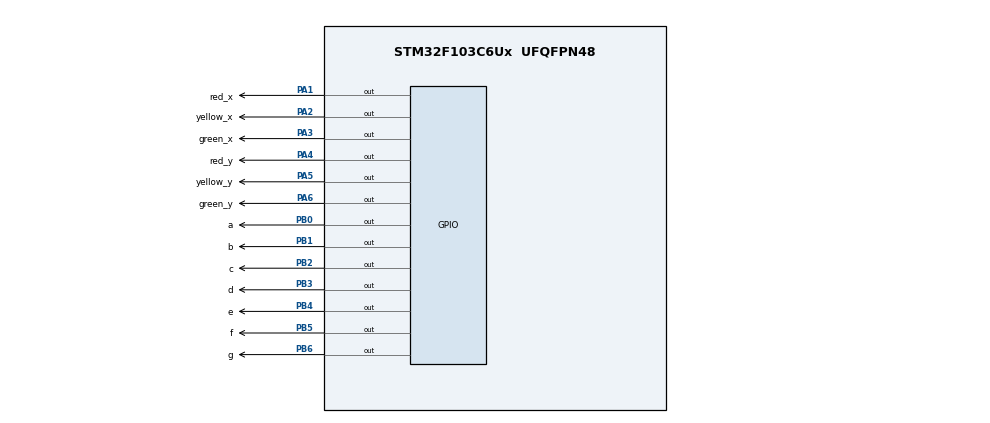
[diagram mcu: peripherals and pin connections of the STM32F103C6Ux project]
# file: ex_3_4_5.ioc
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Mcu.Family=STM32F1
Mcu.Name=STM32F103C6Ux
Mcu.Package=UFQFPN48
NVIC.PriorityGroup=NVIC_PRIORITYGROUP_4
PA1.GPIO_Label=red_x
PA1.Signal=GPIO_Output
PA2.GPIO_Label=yellow_x
PA2.Signal=GPIO_Output
PA3.GPIO_Label=green_x
PA3.Signal=GPIO_Output
PA4.GPIO_Label=red_y
PA4.Signal=GPIO_Output
PA5.GPIO_Label=yellow_y
PA5.Signal=GPIO_Output
PA6.GPIO_Label=green_y
PA6.Signal=GPIO_Output
PB0.GPIO_Label=a
PB0.Signal=GPIO_Output
PB1.GPIO_Label=b
PB1.Signal=GPIO_Output
PB2.GPIO_Label=c
PB2.Signal=GPIO_Output
PB3.GPIO_Label=d
PB3.Signal=GPIO_Output
PB4.GPIO_Label=e
PB4.Signal=GPIO_Output
PB5.GPIO_Label=f
PB5.Signal=GPIO_Output
PB6.GPIO_Label=g
PB6.Signal=GPIO_Output
ProjectManager.HeapSize=0x200
ProjectManager.StackSize=0x400
ProjectManager.TargetToolchain=STM32CubeIDE
RCC.APB1Freq_Value=8000000
RCC.APB2Freq_Value=8000000
VP_SYS_VS_ND.Mode=No_Debug
board=custom

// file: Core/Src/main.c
/* USER CODE BEGIN Header */
/**
  ******************************************************************************
  * @file           : main.c
  * @brief          : Main program body
  ******************************************************************************
  * @attention
  *
  * <h2><center>&copy; Copyright (c) 2026 STMicroelectronics.
  * All rights reserved.</center></h2>
  *
  * This software component is licensed by ST under BSD 3-Clause license,
  * the "License"; You may not use this file except in compliance with the
  * License. You may obtain a copy of the License at:
  *                        opensource.org/licenses/BSD-3-Clause
  *
  ******************************************************************************
  */
/* USER CODE END Header */
#include "main.h"

void SystemClock_Config(void);
static void MX_GPIO_Init(void);

int main(void)
{

  /* MCU Configuration--------------------------------------------------------*/

  /* Reset of all peripherals, Initializes the Flash interface and the Systick. */
  HAL_Init();

  /* Configure the system clock */
  SystemClock_Config();

  /* Initialize all configured peripherals */
  MX_GPIO_Init();
  /* USER CODE BEGIN 2 */
  void display7SEG(int num) {
      switch(num) {
          case 0:
              HAL_GPIO_WritePin(GPIOB, a_Pin, GPIO_PIN_RESET);
              HAL_GPIO_WritePin(GPIOB, b_Pin, GPIO_PIN_RESET);
              HAL_GPIO_WritePin(GPIOB, c_Pin, GPIO_PIN_RESET);
              HAL_GPIO_WritePin(GPIOB, d_Pin, GPIO_PIN_RESET);
              HAL_GPIO_WritePin(GPIOB, e_Pin, GPIO_PIN_RESET);
              HAL_GPIO_WritePin(GPIOB, f_Pin, GPIO_PIN_RESET);
              HAL_GPIO_WritePin(GPIOB, g_Pin, GPIO_PIN_SET);
              break;

          case 1:
              HAL_GPIO_WritePin(GPIOB, a_Pin, GPIO_PIN_SET);
              HAL_GPIO_WritePin(GPIOB, b_Pin, GPIO_PIN_RESET);
              HAL_GPIO_WritePin(GPIOB, c_Pin, GPIO_PIN_RESET);
              HAL_GPIO_WritePin(GPIOB, d_Pin, GPIO_PIN_SET);
              HAL_GPIO_WritePin(GPIOB, e_Pin, GPIO_PIN_SET);
              HAL_GPIO_WritePin(GPIOB, f_Pin, GPIO_PIN_SET);
              HAL_GPIO_WritePin(GPIOB, g_Pin, GPIO_PIN_SET);
              break;

          case 2:
              HAL_GPIO_WritePin(GPIOB, a_Pin, GPIO_PIN_RESET);
              HAL_GPIO_WritePin(GPIOB, b_Pin, GPIO_PIN_RESET);
              HAL_GPIO_WritePin(GPIOB, c_Pin, GPIO_PIN_SET);
              HAL_GPIO_WritePin(GPIOB, d_Pin, GPIO_PIN_RESET);
              HAL_GPIO_WritePin(GPIOB, e_Pin, GPIO_PIN_RESET);
              HAL_GPIO_WritePin(GPIOB, f_Pin, GPIO_PIN_SET);
              HAL_GPIO_WritePin(GPIOB, g_Pin, GPIO_PIN_RESET);
              break;

          case 3:
              HAL_GPIO_WritePin(GPIOB, a_Pin, GPIO_PIN_RESET);
              HAL_GPIO_WritePin(GPIOB, b_Pin, GPIO_PIN_RESET);
              HAL_GPIO_WritePin(GPIOB, c_Pin, GPIO_PIN_RESET);
              HAL_GPIO_WritePin(GPIOB, d_Pin, GPIO_PIN_RESET);
              HAL_GPIO_WritePin(GPIOB, e_Pin, GPIO_PIN_SET);
              HAL_GPIO_WritePin(GPIOB, f_Pin, GPIO_PIN_SET);
              HAL_GPIO_WritePin(GPIOB, g_Pin, GPIO_PIN_RESET);
              break;

          case 4:
              HAL_GPIO_WritePin(GPIOB, a_Pin, GPIO_PIN_SET);
              HAL_GPIO_WritePin(GPIOB, b_Pin, GPIO_PIN_RESET);
              HAL_GPIO_WritePin(GPIOB, c_Pin, GPIO_PIN_RESET);
              HAL_GPIO_WritePin(GPIOB, d_Pin, GPIO_PIN_SET);
              HAL_GPIO_WritePin(GPIOB, e_Pin, GPIO_PIN_SET);
              HAL_GPIO_WritePin(GPIOB, f_Pin, GPIO_PIN_RESET);
              HAL_GPIO_WritePin(GPIOB, g_Pin, GPIO_PIN_RESET);
              break;

          case 5:
              HAL_GPIO_WritePin(GPIOB, a_Pin, GPIO_PIN_RESET);
              HAL_GPIO_WritePin(GPIOB, b_Pin, GPIO_PIN_SET);
              HAL_GPIO_WritePin(GPIOB, c_Pin, GPIO_PIN_RESET);
              HAL_GPIO_WritePin(GPIOB, d_Pin, GPIO_PIN_RESET);
              HAL_GPIO_WritePin(GPIOB, e_Pin, GPIO_PIN_SET);
              HAL_GPIO_WritePin(GPIOB, f_Pin, GPIO_PIN_RESET);
              HAL_GPIO_WritePin(GPIOB, g_Pin, GPIO_PIN_RESET);
              break;

          case 6:
              HAL_GPIO_WritePin(GPIOB, a_Pin, GPIO_PIN_RESET);
              HAL_GPIO_WritePin(GPIOB, b_Pin, GPIO_PIN_SET);
              HAL_GPIO_WritePin(GPIOB, c_Pin, GPIO_PIN_RESET);
              HAL_GPIO_WritePin(GPIOB, d_Pin, GPIO_PIN_RESET);
              HAL_GPIO_WritePin(GPIOB, e_Pin, GPIO_PIN_RESET);
              HAL_GPIO_WritePin(GPIOB, f_Pin, GPIO_PIN_RESET);
              HAL_GPIO_WritePin(GPIOB, g_Pin, GPIO_PIN_RESET);
              break;

          case 7:
              HAL_GPIO_WritePin(GPIOB, a_Pin, GPIO_PIN_RESET);
              HAL_GPIO_WritePin(GPIOB, b_Pin, GPIO_PIN_RESET);
              HAL_GPIO_WritePin(GPIOB, c_Pin, GPIO_PIN_RESET);
              HAL_GPIO_WritePin(GPIOB, d_Pin, GPIO_PIN_SET);
              HAL_GPIO_WritePin(GPIOB, e_Pin, GPIO_PIN_SET);
              HAL_GPIO_WritePin(GPIOB, f_Pin, GPIO_PIN_SET);
              HAL_GPIO_WritePin(GPIOB, g_Pin, GPIO_PIN_SET);
              break;

          case 8:
              HAL_GPIO_WritePin(GPIOB, a_Pin, GPIO_PIN_RESET);
              HAL_GPIO_WritePin(GPIOB, b_Pin, GPIO_PIN_RESET);
              HAL_GPIO_WritePin(GPIOB, c_Pin, GPIO_PIN_RESET);
              HAL_GPIO_WritePin(GPIOB, d_Pin, GPIO_PIN_RESET);
              HAL_GPIO_WritePin(GPIOB, e_Pin, GPIO_PIN_RESET);
              HAL_GPIO_WritePin(GPIOB, f_Pin, GPIO_PIN_RESET);
              HAL_GPIO_WritePin(GPIOB, g_Pin, GPIO_PIN_RESET);
              break;

          case 9:
              HAL_GPIO_WritePin(GPIOB, a_Pin, GPIO_PIN_RESET);
              HAL_GPIO_WritePin(GPIOB, b_Pin, GPIO_PIN_RESET);
              HAL_GPIO_WritePin(GPIOB, c_Pin, GPIO_PIN_RESET);
              HAL_GPIO_WritePin(GPIOB, d_Pin, GPIO_PIN_RESET);
              HAL_GPIO_WritePin(GPIOB, e_Pin, GPIO_PIN_SET);
              HAL_GPIO_WritePin(GPIOB, f_Pin, GPIO_PIN_RESET);
              HAL_GPIO_WritePin(GPIOB, g_Pin, GPIO_PIN_RESET);
              break;

          default:

              break;
      }
  }

  /* USER CODE END 2 */

  /* Infinite loop */
  /* USER CODE BEGIN WHILE */
#define RED 0
#define YELLOW 1
#define GREEN 2
int led_status = RED;
int counter = 0;
int countdown = 0;

  while (1)
  {
	  ////b3
//	  if(counter>=10) counter =0;
//	  display7SEG(counter++);

//	switch (led_status){
//	case RED: //////red 2 side , green up down
//			HAL_GPIO_WritePin(red_x_GPIO_Port, red_x_Pin, GPIO_PIN_SET);
//		    HAL_GPIO_WritePin(yellow_x_GPIO_Port, yellow_x_Pin, GPIO_PIN_RESET);
//		    HAL_GPIO_WritePin(green_x_GPIO_Port, green_x_Pin, GPIO_PIN_RESET);
//
//		    HAL_GPIO_WritePin(red_y_GPIO_Port, red_y_Pin, GPIO_PIN_RESET);
//		    HAL_GPIO_WritePin(yellow_y_GPIO_Port, yellow_y_Pin, GPIO_PIN_RESET);
//		    HAL_GPIO_WritePin(green_y_GPIO_Port, green_y_Pin, GPIO_PIN_SET);
//
//		    countdown = 5 - counter;
//		    display7SEG (countdown);
//		    counter++;
//
//		    if(counter >3)////GREEN UP DOWN -> YELLOW
//		    	{
//		    	HAL_GPIO_WritePin(yellow_y_GPIO_Port, yellow_y_Pin, GPIO_PIN_SET);
//		    	HAL_GPIO_WritePin(green_y_GPIO_Port,  green_y_Pin, GPIO_PIN_RESET);
//		    	HAL_GPIO_WritePin(red_y_GPIO_Port, red_y_Pin, GPIO_PIN_RESET);
//		    	}
//		    if(counter ==5)
//		    	{
//		    	led_status=GREEN;
//		    	counter=0;
//		    	}
//		    break;
//
//	case GREEN :  ////////red 2 side -> green 2 side , yellow up down -> red
//			HAL_GPIO_WritePin(red_x_GPIO_Port, red_x_Pin, GPIO_PIN_RESET);
//			HAL_GPIO_WritePin(yellow_x_GPIO_Port, yellow_x_Pin, GPIO_PIN_RESET);
//			HAL_GPIO_WritePin(green_x_GPIO_Port, green_x_Pin, GPIO_PIN_SET);
//
//			HAL_GPIO_WritePin(red_y_GPIO_Port, red_y_Pin, GPIO_PIN_SET);
//			HAL_GPIO_WritePin(yellow_y_GPIO_Port, yellow_y_Pin, GPIO_PIN_RESET);
//			HAL_GPIO_WritePin(green_y_GPIO_Port, green_y_Pin, GPIO_PIN_RESET);
//
//			countdown = 3 - counter;
//			display7SEG (countdown);
//			counter++;
//
//			if(counter==3)
//				{
//				led_status = YELLOW;
//				counter=0;
//				}
//		break;
//
//	case YELLOW: //////////////green 2 side -> yellow ; red up down -> green
//			HAL_GPIO_WritePin(red_x_GPIO_Port, red_x_Pin, GPIO_PIN_RESET);
//			HAL_GPIO_WritePin(yellow_x_GPIO_Port, yellow_x_Pin, GPIO_PIN_SET);
//		    HAL_GPIO_WritePin(green_x_GPIO_Port, green_x_Pin, GPIO_PIN_RESET);
//
//		    HAL_GPIO_WritePin(red_y_GPIO_Port, red_y_Pin, GPIO_PIN_RESET);
//		    HAL_GPIO_WritePin(yellow_y_GPIO_Port, yellow_y_Pin, GPIO_PIN_RESET);
//		    HAL_GPIO_WritePin(green_y_GPIO_Port, green_y_Pin, GPIO_PIN_SET);
//
//		    countdown = 2 - counter;
//		    display7SEG(countdown);
//		    counter ++;
//
//		    if (counter==2)
//		    {
//		    led_status=RED;
//		    counter=0;
//		    }
//		    break;
//	default:
//		break;
//	}
//	      HAL_Delay(1000);
	  ///////b5
	  switch (led_status) {
	  case RED:
	      HAL_GPIO_WritePin(red_x_GPIO_Port, red_x_Pin, GPIO_PIN_SET);
	      HAL_GPIO_WritePin(yellow_x_GPIO_Port, yellow_x_Pin, GPIO_PIN_RESET);
	      HAL_GPIO_WritePin(green_x_GPIO_Port, green_x_Pin, GPIO_PIN_RESET);

	      if (counter < 3) {
	          HAL_GPIO_WritePin(red_y_GPIO_Port, red_y_Pin, GPIO_PIN_RESET);
	          HAL_GPIO_WritePin(yellow_y_GPIO_Port, yellow_y_Pin, GPIO_PIN_RESET);
	          HAL_GPIO_WritePin(green_y_GPIO_Port, green_y_Pin, GPIO_PIN_SET);
	      } else {

	          HAL_GPIO_WritePin(red_y_GPIO_Port, red_y_Pin, GPIO_PIN_RESET);
	          HAL_GPIO_WritePin(yellow_y_GPIO_Port, yellow_y_Pin, GPIO_PIN_SET);
	          HAL_GPIO_WritePin(green_y_GPIO_Port, green_y_Pin, GPIO_PIN_RESET);
	      }

	      countdown = 5 - counter;
	      display7SEG(countdown);
	      counter++;

	      if (counter >= 5) {
	          led_status = GREEN;
	          counter = 0;
	      }
	      break;

	  case GREEN:
	      HAL_GPIO_WritePin(red_x_GPIO_Port, red_x_Pin, GPIO_PIN_RESET);
	      HAL_GPIO_WritePin(yellow_x_GPIO_Port, yellow_x_Pin, GPIO_PIN_RESET);
	      HAL_GPIO_WritePin(green_x_GPIO_Port, green_x_Pin, GPIO_PIN_SET);

	      HAL_GPIO_WritePin(red_y_GPIO_Port, red_y_Pin, GPIO_PIN_SET);
	      HAL_GPIO_WritePin(yellow_y_GPIO_Port, yellow_y_Pin, GPIO_PIN_RESET);
	      HAL_GPIO_WritePin(green_y_GPIO_Port, green_y_Pin, GPIO_PIN_RESET);

	      countdown = 3 - counter;
	      display7SEG(countdown);
	      counter++;

	      if (counter >= 3) {
	          led_status = YELLOW;
	          counter = 0;
	      }
	      break;

	  case YELLOW:
	      HAL_GPIO_WritePin(red_x_GPIO_Port, red_x_Pin, GPIO_PIN_RESET);
	      HAL_GPIO_WritePin(yellow_x_GPIO_Port, yellow_x_Pin, GPIO_PIN_SET);
	      HAL_GPIO_WritePin(green_x_GPIO_Port, green_x_Pin, GPIO_PIN_RESET);

	      HAL_GPIO_WritePin(red_y_GPIO_Port, red_y_Pin, GPIO_PIN_SET);
	      HAL_GPIO_WritePin(yellow_y_GPIO_Port, yellow_y_Pin, GPIO_PIN_RESET);
	      HAL_GPIO_WritePin(green_y_GPIO_Port, green_y_Pin, GPIO_PIN_RESET);

	      countdown = 2 - counter;
	      display7SEG(countdown);
	      counter++;

	      if (counter >= 2) {
	          led_status = RED;
	          counter = 0;
	      }
	      break;

	  default:
	      break;
	  }

	  HAL_Delay(1000);
///////////////////////////////////////////////////////////
    /* USER CODE END WHILE */

  }
}

void SystemClock_Config(void)
{
  RCC_OscInitTypeDef RCC_OscInitStruct = {0};
  RCC_ClkInitTypeDef RCC_ClkInitStruct = {0};

  /** Initializes the RCC Oscillators according to the specified parameters
  * in the RCC_OscInitTypeDef structure.
  */
  RCC_OscInitStruct.OscillatorType = RCC_OSCILLATORTYPE_HSI;
  RCC_OscInitStruct.HSIState = RCC_HSI_ON;
  RCC_OscInitStruct.HSICalibrationValue = RCC_HSICALIBRATION_DEFAULT;
  RCC_OscInitStruct.PLL.PLLState = RCC_PLL_NONE;
  if (HAL_RCC_OscConfig(&RCC_OscInitStruct) != HAL_OK)
  {
    Error_Handler();
  }
  /** Initializes the CPU, AHB and APB buses clocks
  */
  RCC_ClkInitStruct.ClockType = RCC_CLOCKTYPE_HCLK|RCC_CLOCKTYPE_SYSCLK
                              |RCC_CLOCKTYPE_PCLK1|RCC_CLOCKTYPE_PCLK2;
  RCC_ClkInitStruct.SYSCLKSource = RCC_SYSCLKSOURCE_HSI;
  RCC_ClkInitStruct.AHBCLKDivider = RCC_SYSCLK_DIV1;
  RCC_ClkInitStruct.APB1CLKDivider = RCC_HCLK_DIV1;
  RCC_ClkInitStruct.APB2CLKDivider = RCC_HCLK_DIV1;

  if (HAL_RCC_ClockConfig(&RCC_ClkInitStruct, FLASH_LATENCY_0) != HAL_OK)
  {
    Error_Handler();
  }
}

static void MX_GPIO_Init(void)
{
  GPIO_InitTypeDef GPIO_InitStruct = {0};

  /* GPIO Ports Clock Enable */
  __HAL_RCC_GPIOA_CLK_ENABLE();
  __HAL_RCC_GPIOB_CLK_ENABLE();

  /*Configure GPIO pin Output Level */
  HAL_GPIO_WritePin(GPIOA, red_x_Pin|yellow_x_Pin|green_x_Pin|red_y_Pin
                          |yellow_y_Pin|green_y_Pin, GPIO_PIN_RESET);

  /*Configure GPIO pin Output Level */
  HAL_GPIO_WritePin(GPIOB, a_Pin|b_Pin|c_Pin|d_Pin
                          |e_Pin|f_Pin|g_Pin, GPIO_PIN_RESET);

  /*Configure GPIO pins : red_x_Pin yellow_x_Pin green_x_Pin red_y_Pin
                           yellow_y_Pin green_y_Pin */
  GPIO_InitStruct.Pin = red_x_Pin|yellow_x_Pin|green_x_Pin|red_y_Pin
                          |yellow_y_Pin|green_y_Pin;
  GPIO_InitStruct.Mode = GPIO_MODE_OUTPUT_PP;
  GPIO_InitStruct.Pull = GPIO_NOPULL;
  GPIO_InitStruct.Speed = GPIO_SPEED_FREQ_LOW;
  HAL_GPIO_Init(GPIOA, &GPIO_InitStruct);

  /*Configure GPIO pins : a_Pin b_Pin c_Pin d_Pin
                           e_Pin f_Pin g_Pin */
  GPIO_InitStruct.Pin = a_Pin|b_Pin|c_Pin|d_Pin
                          |e_Pin|f_Pin|g_Pin;
  GPIO_InitStruct.Mode = GPIO_MODE_OUTPUT_PP;
  GPIO_InitStruct.Pull = GPIO_NOPULL;
  GPIO_InitStruct.Speed = GPIO_SPEED_FREQ_LOW;
  HAL_GPIO_Init(GPIOB, &GPIO_InitStruct);

}

void Error_Handler(void)
{
  __disable_irq();
  while (1)
  {
  }
}

/************************ (C) COPYRIGHT STMicroelectronics *****END OF FILE****/
